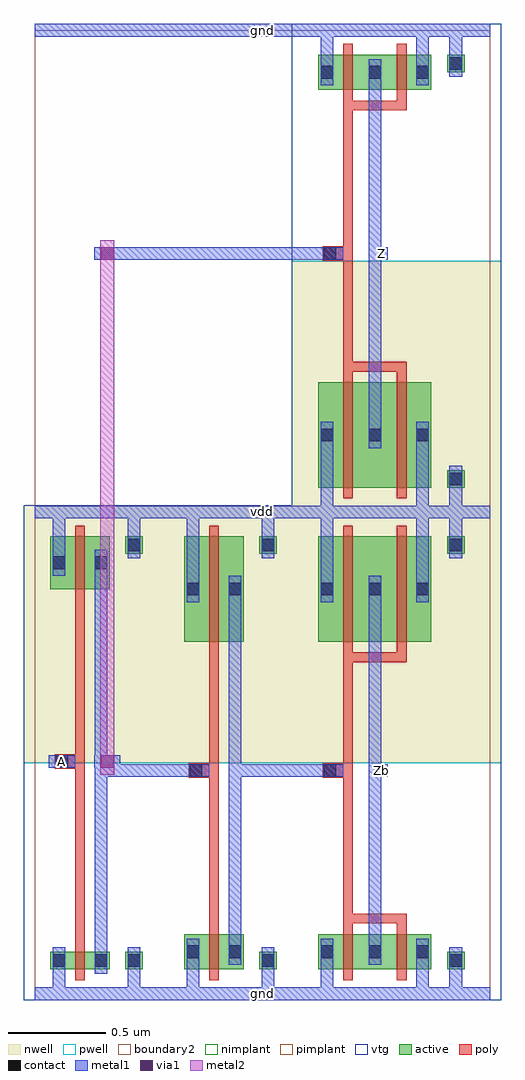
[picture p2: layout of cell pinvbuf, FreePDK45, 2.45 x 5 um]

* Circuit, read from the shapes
.subckt pinvbuf A Z Zb gnd vdd
M1 pinv_2_1/A A gnd gnd nfet w=0.09u l=0.05u
M2 pinv_3_2/A pinv_2_1/A gnd gnd nfet w=0.18u l=0.05u
M3 Zb pinv_3_2/A gnd gnd nfet w=0.18u l=0.05u m=2
M4 Z pinv_2_1/A gnd gnd nfet w=0.18u l=0.05u m=2
M5 pinv_2_1/A A vdd vdd pfet w=0.27u l=0.05u
M6 pinv_3_2/A pinv_2_1/A vdd vdd pfet w=0.54u l=0.05u
M7 Zb pinv_3_2/A vdd vdd pfet w=0.54u l=0.05u m=2
M8 Z pinv_2_1/A vdd vdd pfet w=0.54u l=0.05u m=2
.ends

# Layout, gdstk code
import gdstk
lib = gdstk.Library(unit=1e-6, precision=5e-10)
def R(c, l, rs):  # rectangles x0, y0, x1, y1
    for r in rs: c.add(gdstk.rectangle(r[:2], r[2:], *l))
def A(c, l, x, y, w, h, nx, ny, dx, dy):  # array of equal rectangles
    R(c, l, [(x+i*dx, y+j*dy, x+i*dx+w, y+j*dy+h) for i in range(nx) for j in range(ny)])
active = (1, 0)
pwell = (2, 0)
nwell = (3, 0)
nimplant = (4, 0)
pimplant = (5, 0)
vtg = (6, 0)
poly = (9, 0)
contact = (10, 0)
metal1 = (11, 0)
via1 = (12, 0)
metal2 = (13, 0)
boundary2 = (239, 0)

contact_10 = lib.new_cell('contact_10')
R(contact_10, active, [(0,0.0225,0.09,0.1125)])
R(contact_10, nwell, [(-0.055,-0.0325,0.145,0.1675)])
R(contact_10, pimplant, [(0,0.0225,0.09,0.1125)])
R(contact_10, contact, [(0.0125,0.035,0.0775,0.1)])
R(contact_10, metal1, [(0.0125,0,0.0775,0.135)])
R(contact_10, boundary2, [(-0.055,-0.0325,0.145,0.1675)])

pmos_m1_w0_270_sm1_dm1_d = lib.new_cell('pmos_m1_w0_270_sm1_dm1_da_p')
R(pmos_m1_w0_270_sm1_dm1_d, active, [(0,0,0.305,0.27)])
R(pmos_m1_w0_270_sm1_dm1_d, nwell, [(-0.08,-0.08,0.385,0.35)])
R(pmos_m1_w0_270_sm1_dm1_d, pimplant, [(0,0,0.305,0.27)])
R(pmos_m1_w0_270_sm1_dm1_d, vtg, [(-0.08,-0.08,0.385,0.35)])
R(pmos_m1_w0_270_sm1_dm1_d, poly, [(0.1275,-0.055,0.1775,0.325), (0.1275,-0.055,0.1775,0.325)])
R(pmos_m1_w0_270_sm1_dm1_d, metal1, [(0.0125,0.0675,0.0775,0.2025), (0.2275,0.0675,0.2925,0.2025)])
R(pmos_m1_w0_270_sm1_dm1_d, boundary2, [(-0.08,-0.08,0.385,0.35)])
pmos_m1_w0_270_sm1_dm1_d.add(gdstk.Reference(contact_10, (0,0.0675)))
pmos_m1_w0_270_sm1_dm1_d.add(gdstk.Reference(contact_10, (0.215,0.0675)))
pmos_m1_w0_270_sm1_dm1_d.add(gdstk.Label('G', (0.1525,0.135), layer=9, texttype=0))
pmos_m1_w0_270_sm1_dm1_d.add(gdstk.Label('S', (0.045,0.135), layer=11, texttype=0))
pmos_m1_w0_270_sm1_dm1_d.add(gdstk.Label('D', (0.26,0.135), layer=11, texttype=0))

contact_9 = lib.new_cell('contact_9')
R(contact_9, active, [(0,0.0225,0.09,0.1125)])
R(contact_9, pwell, [(-0.055,-0.0325,0.145,0.1675)])
R(contact_9, nimplant, [(0,0.0225,0.09,0.1125)])
R(contact_9, contact, [(0.0125,0.035,0.0775,0.1)])
R(contact_9, metal1, [(0.0125,0,0.0775,0.135)])
R(contact_9, boundary2, [(-0.055,-0.0325,0.145,0.1675)])

nmos_m1_w0_090_sm1_dm1_d = lib.new_cell('nmos_m1_w0_090_sm1_dm1_da_p')
R(nmos_m1_w0_090_sm1_dm1_d, active, [(0,0,0.305,0.09)])
R(nmos_m1_w0_090_sm1_dm1_d, pwell, [(-0.08,-0.08,0.385,0.17)])
R(nmos_m1_w0_090_sm1_dm1_d, nimplant, [(0,0,0.305,0.09)])
R(nmos_m1_w0_090_sm1_dm1_d, vtg, [(-0.08,-0.08,0.385,0.17)])
R(nmos_m1_w0_090_sm1_dm1_d, poly, [(0.1275,-0.055,0.1775,0.145), (0.1275,-0.055,0.1775,0.145)])
R(nmos_m1_w0_090_sm1_dm1_d, metal1, [(0.0125,-0.0225,0.0775,0.1125), (0.2275,-0.0225,0.2925,0.1125)])
R(nmos_m1_w0_090_sm1_dm1_d, boundary2, [(-0.08,-0.08,0.385,0.17)])
nmos_m1_w0_090_sm1_dm1_d.add(gdstk.Reference(contact_9, (0,-0.0225)))
nmos_m1_w0_090_sm1_dm1_d.add(gdstk.Reference(contact_9, (0.215,-0.0225)))
nmos_m1_w0_090_sm1_dm1_d.add(gdstk.Label('G', (0.1525,0.045), layer=9, texttype=0))
nmos_m1_w0_090_sm1_dm1_d.add(gdstk.Label('S', (0.045,0.045), layer=11, texttype=0))
nmos_m1_w0_090_sm1_dm1_d.add(gdstk.Label('D', (0.26,0.045), layer=11, texttype=0))

contact_11 = lib.new_cell('contact_11')
R(contact_11, active, [(0,0.0225,0.09,0.1125)])
R(contact_11, nwell, [(-0.055,-0.0325,0.145,0.1675)])
R(contact_11, nimplant, [(0,0.0225,0.09,0.1125)])
R(contact_11, contact, [(0.0125,0.035,0.0775,0.1)])
R(contact_11, metal1, [(0.0125,0,0.0775,0.135)])
R(contact_11, boundary2, [(-0.055,-0.0325,0.145,0.1675)])

contact_12 = lib.new_cell('contact_12')
R(contact_12, active, [(0,0.0225,0.09,0.1125)])
R(contact_12, pwell, [(-0.055,-0.0325,0.145,0.1675)])
R(contact_12, pimplant, [(0,0.0225,0.09,0.1125)])
R(contact_12, contact, [(0.0125,0.035,0.0775,0.1)])
R(contact_12, metal1, [(0.0125,0,0.0775,0.135)])
R(contact_12, boundary2, [(-0.055,-0.0325,0.145,0.1675)])

contact_13 = lib.new_cell('contact_13')
R(contact_13, poly, [(0.03,0,0.105,0.075)])
R(contact_13, contact, [(0.035,0.005,0.1,0.07)])
R(contact_13, metal1, [(0,0.005,0.135,0.07)])
R(contact_13, boundary2, [(0,0,0.135,0.075)])

pinv_1 = lib.new_cell('pinv_1')
R(pinv_1, pwell, [(-0.055,-0.0325,0.7425,1.185)])
R(pinv_1, nwell, [(-0.055,1.185,0.7425,2.505)])
R(pinv_1, vtg, [(-0.055,-0.0325,0.7425,1.185), (-0.055,1.185,0.7425,2.505)])
R(pinv_1, poly, [(0.2075,0.27,0.2575,2.02), (0.14,1.1525,0.2075,1.2275)])
R(pinv_1, metal1, [(0,-0.0325,0.6875,0.0325), (0.0925,-0.0325,0.1575,0.1025), (0.4775,0,0.5425,0.17), (0.3075,0.1025,0.3725,2.2775), (0.0725,1.1575,0.2075,1.2225), (0.34,1.1575,0.405,1.2225), (0.0925,2.1425,0.1575,2.5025), (0.4775,2.3,0.5425,2.47), (0,2.4375,0.6875,2.5025)])
R(pinv_1, boundary2, [(0,0,0.6875,2.47), (0,0,0.6875,2.47)])
pinv_1.add(gdstk.Reference(pmos_m1_w0_270_sm1_dm1_d, (0.08,2.075)))
pinv_1.add(gdstk.Reference(nmos_m1_w0_090_sm1_dm1_d, (0.08,0.125)))
pinv_1.add(gdstk.Reference(contact_11, (0.465,2.2325)))
pinv_1.add(gdstk.Reference(contact_12, (0.465,0.1025)))
pinv_1.add(gdstk.Reference(contact_13, (0.0725,1.1525)))
pinv_1.add(gdstk.Label('A', (0.14,1.19), layer=11, texttype=0))
pinv_1.add(gdstk.Label('Z', (0.3725,1.19), layer=11, texttype=0))
pinv_1.add(gdstk.Label('gnd', (0.344,0), layer=11, texttype=0))
pinv_1.add(gdstk.Label('vdd', (0.344,2.47), layer=11, texttype=0))

pmos_m1_w0_540_sm1_dm1_d = lib.new_cell('pmos_m1_w0_540_sm1_dm1_da_p')
R(pmos_m1_w0_540_sm1_dm1_d, active, [(0,0,0.305,0.54)])
R(pmos_m1_w0_540_sm1_dm1_d, nwell, [(-0.08,-0.08,0.385,0.62)])
R(pmos_m1_w0_540_sm1_dm1_d, pimplant, [(0,0,0.305,0.54)])
R(pmos_m1_w0_540_sm1_dm1_d, vtg, [(-0.08,-0.08,0.385,0.62)])
R(pmos_m1_w0_540_sm1_dm1_d, poly, [(0.1275,-0.055,0.1775,0.595), (0.1275,-0.055,0.1775,0.595)])
R(pmos_m1_w0_540_sm1_dm1_d, metal1, [(0.0125,0.2025,0.0775,0.3375), (0.2275,0.2025,0.2925,0.3375)])
R(pmos_m1_w0_540_sm1_dm1_d, boundary2, [(-0.08,-0.08,0.385,0.62)])
pmos_m1_w0_540_sm1_dm1_d.add(gdstk.Reference(contact_10, (0,0.2025)))
pmos_m1_w0_540_sm1_dm1_d.add(gdstk.Reference(contact_10, (0.215,0.2025)))
pmos_m1_w0_540_sm1_dm1_d.add(gdstk.Label('G', (0.1525,0.27), layer=9, texttype=0))
pmos_m1_w0_540_sm1_dm1_d.add(gdstk.Label('S', (0.045,0.27), layer=11, texttype=0))
pmos_m1_w0_540_sm1_dm1_d.add(gdstk.Label('D', (0.26,0.27), layer=11, texttype=0))

nmos_m1_w0_180_sm1_dm1_d = lib.new_cell('nmos_m1_w0_180_sm1_dm1_da_p')
R(nmos_m1_w0_180_sm1_dm1_d, active, [(0,0,0.305,0.18)])
R(nmos_m1_w0_180_sm1_dm1_d, pwell, [(-0.08,-0.08,0.385,0.26)])
R(nmos_m1_w0_180_sm1_dm1_d, nimplant, [(0,0,0.305,0.18)])
R(nmos_m1_w0_180_sm1_dm1_d, vtg, [(-0.08,-0.08,0.385,0.26)])
R(nmos_m1_w0_180_sm1_dm1_d, poly, [(0.1275,-0.055,0.1775,0.235), (0.1275,-0.055,0.1775,0.235)])
R(nmos_m1_w0_180_sm1_dm1_d, metal1, [(0.0125,0.0225,0.0775,0.1575), (0.2275,0.0225,0.2925,0.1575)])
R(nmos_m1_w0_180_sm1_dm1_d, boundary2, [(-0.08,-0.08,0.385,0.26)])
nmos_m1_w0_180_sm1_dm1_d.add(gdstk.Reference(contact_9, (0,0.0225)))
nmos_m1_w0_180_sm1_dm1_d.add(gdstk.Reference(contact_9, (0.215,0.0225)))
nmos_m1_w0_180_sm1_dm1_d.add(gdstk.Label('G', (0.1525,0.09), layer=9, texttype=0))
nmos_m1_w0_180_sm1_dm1_d.add(gdstk.Label('S', (0.045,0.09), layer=11, texttype=0))
nmos_m1_w0_180_sm1_dm1_d.add(gdstk.Label('D', (0.26,0.09), layer=11, texttype=0))

pinv_2 = lib.new_cell('pinv_2')
R(pinv_2, pwell, [(-0.055,-0.0325,0.7425,1.185)])
R(pinv_2, nwell, [(-0.055,1.185,0.7425,2.505)])
R(pinv_2, vtg, [(-0.055,-0.0325,0.7425,1.185), (-0.055,1.185,0.7425,2.505)])
R(pinv_2, poly, [(0.2075,0.36,0.2575,1.75), (0.14,1.1075,0.2075,1.1825)])
R(pinv_2, metal1, [(0,-0.0325,0.6875,0.0325), (0.0925,-0.0325,0.1575,0.1475), (0.4775,0,0.5425,0.17), (0.3075,0.1475,0.3725,2.1425), (0.0725,1.1125,0.2075,1.1775), (0.34,1.1125,0.405,1.1775), (0.0925,2.0075,0.1575,2.5025), (0.4775,2.3,0.5425,2.47), (0,2.4375,0.6875,2.5025)])
R(pinv_2, boundary2, [(0,0,0.6875,2.47), (0,0,0.6875,2.47)])
pinv_2.add(gdstk.Reference(pmos_m1_w0_540_sm1_dm1_d, (0.08,1.805)))
pinv_2.add(gdstk.Reference(nmos_m1_w0_180_sm1_dm1_d, (0.08,0.125)))
pinv_2.add(gdstk.Reference(contact_11, (0.465,2.2325)))
pinv_2.add(gdstk.Reference(contact_12, (0.465,0.1025)))
pinv_2.add(gdstk.Reference(contact_13, (0.0725,1.1075)))
pinv_2.add(gdstk.Label('A', (0.14,1.145), layer=11, texttype=0))
pinv_2.add(gdstk.Label('Z', (0.3725,1.145), layer=11, texttype=0))
pinv_2.add(gdstk.Label('gnd', (0.344,0), layer=11, texttype=0))
pinv_2.add(gdstk.Label('vdd', (0.344,2.47), layer=11, texttype=0))

pmos_m2_w0_540_sm1_dm1_d = lib.new_cell('pmos_m2_w0_540_sm1_dm1_da_p')
R(pmos_m2_w0_540_sm1_dm1_d, active, [(0,0,0.58,0.54)])
R(pmos_m2_w0_540_sm1_dm1_d, nwell, [(-0.08,-0.08,0.66,0.62)])
R(pmos_m2_w0_540_sm1_dm1_d, pimplant, [(0,0,0.58,0.54)])
R(pmos_m2_w0_540_sm1_dm1_d, vtg, [(-0.08,-0.08,0.66,0.62)])
R(pmos_m2_w0_540_sm1_dm1_d, poly, [(0.1275,-0.105,0.4525,-0.055), (0.1275,-0.055,0.1775,0.595), (0.4025,-0.055,0.4525,0.595)])
A(pmos_m2_w0_540_sm1_dm1_d, metal1, 0.0125, 0.2025, 0.065, 0.135, 3, 1, 0.245, 0)
R(pmos_m2_w0_540_sm1_dm1_d, boundary2, [(-0.08,-0.105,0.66,0.62)])
pmos_m2_w0_540_sm1_dm1_d.add(gdstk.Reference(contact_10, (0,0.2025)))
pmos_m2_w0_540_sm1_dm1_d.add(gdstk.Reference(contact_10, (0.245,0.2025)))
pmos_m2_w0_540_sm1_dm1_d.add(gdstk.Reference(contact_10, (0.49,0.2025)))
pmos_m2_w0_540_sm1_dm1_d.add(gdstk.Label('G', (0.29,-0.08), layer=9, texttype=0))
pmos_m2_w0_540_sm1_dm1_d.add(gdstk.Label('S', (0.535,0.27), layer=11, texttype=0))
pmos_m2_w0_540_sm1_dm1_d.add(gdstk.Label('S', (0.045,0.27), layer=11, texttype=0))
pmos_m2_w0_540_sm1_dm1_d.add(gdstk.Label('D', (0.29,0.27), layer=11, texttype=0))

nmos_m2_w0_180_sm1_dm1_d = lib.new_cell('nmos_m2_w0_180_sm1_dm1_da_p')
R(nmos_m2_w0_180_sm1_dm1_d, active, [(0,0,0.58,0.18)])
R(nmos_m2_w0_180_sm1_dm1_d, pwell, [(-0.08,-0.08,0.66,0.26)])
R(nmos_m2_w0_180_sm1_dm1_d, nimplant, [(0,0,0.58,0.18)])
R(nmos_m2_w0_180_sm1_dm1_d, vtg, [(-0.08,-0.08,0.66,0.26)])
R(nmos_m2_w0_180_sm1_dm1_d, poly, [(0.1275,-0.055,0.1775,0.235), (0.4025,-0.055,0.4525,0.235), (0.1275,0.235,0.4525,0.285)])
A(nmos_m2_w0_180_sm1_dm1_d, metal1, 0.0125, 0.0225, 0.065, 0.135, 3, 1, 0.245, 0)
R(nmos_m2_w0_180_sm1_dm1_d, boundary2, [(-0.08,-0.08,0.66,0.285)])
nmos_m2_w0_180_sm1_dm1_d.add(gdstk.Reference(contact_9, (0,0.0225)))
nmos_m2_w0_180_sm1_dm1_d.add(gdstk.Reference(contact_9, (0.245,0.0225)))
nmos_m2_w0_180_sm1_dm1_d.add(gdstk.Reference(contact_9, (0.49,0.0225)))
nmos_m2_w0_180_sm1_dm1_d.add(gdstk.Label('G', (0.29,0.26), layer=9, texttype=0))
nmos_m2_w0_180_sm1_dm1_d.add(gdstk.Label('S', (0.045,0.09), layer=11, texttype=0))
nmos_m2_w0_180_sm1_dm1_d.add(gdstk.Label('S', (0.535,0.09), layer=11, texttype=0))
nmos_m2_w0_180_sm1_dm1_d.add(gdstk.Label('D', (0.29,0.09), layer=11, texttype=0))

pinv_3 = lib.new_cell('pinv_3')
R(pinv_3, pwell, [(-0.055,-0.0325,1.0175,1.185)])
R(pinv_3, nwell, [(-0.055,1.185,1.0175,2.505)])
R(pinv_3, vtg, [(-0.055,-0.0325,1.0175,1.185), (-0.055,1.185,1.0175,2.505)])
R(pinv_3, poly, [(0.2075,0.41,0.2575,1.7), (0.14,1.1075,0.2075,1.1825)])
R(pinv_3, metal1, [(0,-0.0325,0.9625,0.0325), (0.0925,-0.0325,0.1575,0.1475), (0.5825,-0.0325,0.6475,0.1475), (0.7525,0,0.8175,0.17), (0.3375,0.1475,0.4025,2.1425), (0.0725,1.1125,0.2075,1.1775), (0.37,1.1125,0.435,1.1775), (0.0925,2.0075,0.1575,2.5025), (0.5825,2.0075,0.6475,2.5025), (0.7525,2.3,0.8175,2.47), (0,2.4375,0.9625,2.5025)])
R(pinv_3, boundary2, [(0,0,0.9625,2.47), (0,0,0.9625,2.47)])
pinv_3.add(gdstk.Reference(pmos_m2_w0_540_sm1_dm1_d, (0.08,1.805)))
pinv_3.add(gdstk.Reference(nmos_m2_w0_180_sm1_dm1_d, (0.08,0.125)))
pinv_3.add(gdstk.Reference(contact_11, (0.74,2.2325)))
pinv_3.add(gdstk.Reference(contact_12, (0.74,0.1025)))
pinv_3.add(gdstk.Reference(contact_13, (0.0725,1.1075)))
pinv_3.add(gdstk.Label('A', (0.14,1.145), layer=11, texttype=0))
pinv_3.add(gdstk.Label('Z', (0.4025,1.145), layer=11, texttype=0))
pinv_3.add(gdstk.Label('gnd', (0.481,0), layer=11, texttype=0))
pinv_3.add(gdstk.Label('vdd', (0.481,2.47), layer=11, texttype=0))

contact_16 = lib.new_cell('contact_16')
R(contact_16, metal1, [(0,0.035,0.135,0.1)])
R(contact_16, via1, [(0.035,0.035,0.1,0.1)])
R(contact_16, metal2, [(0.0325,0,0.1025,0.135)])
R(contact_16, boundary2, [(0,0,0.135,0.135)])

pinvbuf = lib.new_cell('pinvbuf')
A(pinvbuf, metal1, 0, 0, 2.3375, 0.065, 1, 3, 0, 2.47)
R(pinvbuf, metal1, [(0.34,1.145,0.405,1.21), (0.3725,1.145,0.8275,1.21), (0.795,1.145,0.86,1.21), (1.06,1.145,1.515,1.21), (1.4825,1.145,1.5475,1.21), (1.745,1.145,1.81,1.21), (0.34,1.1775,0.405,1.2225), (0.1075,1.19,0.1725,1.255), (0.3725,3.795,1.515,3.86), (1.745,3.795,1.81,3.86)])
R(pinvbuf, metal2, [(0.3375,1.2225,0.4075,3.8275)])
R(pinvbuf, boundary2, [(0,0,2.3375,4.94), (0,0.0325,2.3375,4.9725)])
pinvbuf.add(gdstk.Reference(pinv_1, (0,0.0325)))
pinvbuf.add(gdstk.Reference(pinv_2, (0.6875,0.0325)))
pinvbuf.add(gdstk.Reference(pinv_3, (1.375,0.0325)))
pinvbuf.add(gdstk.Reference(pinv_3, (1.375,4.9725), x_reflection=True))
pinvbuf.add(gdstk.Reference(contact_16, (0.305,3.76)))
pinvbuf.add(gdstk.Reference(contact_16, (0.305,1.155)))
pinvbuf.add(gdstk.Label('vdd', (1.169,2.5025), layer=11, texttype=0))
pinvbuf.add(gdstk.Label('gnd', (1.169,0.0325), layer=11, texttype=0))
pinvbuf.add(gdstk.Label('gnd', (1.169,4.9725), layer=11, texttype=0))
pinvbuf.add(gdstk.Label('Z', (1.7775,3.8275), layer=11, texttype=0))
pinvbuf.add(gdstk.Label('Zb', (1.7775,1.1775), layer=11, texttype=0))
pinvbuf.add(gdstk.Label('A', (0.14,1.2225), layer=11, texttype=0))

lib.write_gds('pinvbuf.gds')
